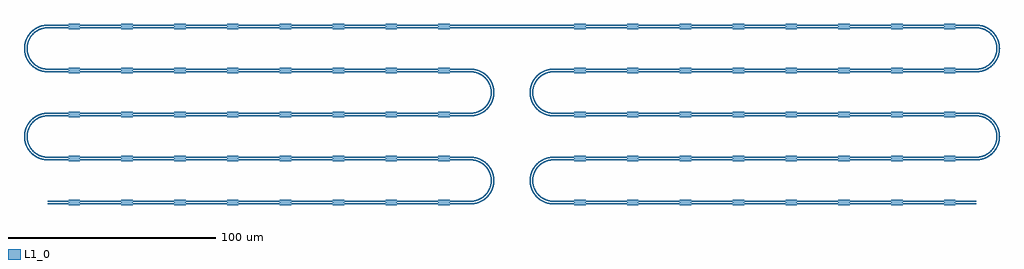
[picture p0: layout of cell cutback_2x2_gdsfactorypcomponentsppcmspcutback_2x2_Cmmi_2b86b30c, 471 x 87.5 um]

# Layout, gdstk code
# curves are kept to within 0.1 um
from math import pi, radians
import gdstk
lib = gdstk.Library(unit=1e-6, precision=1e-09)
def R(c, l, rs):  # rectangles x0, y0, x1, y1
    for r in rs: c.add(gdstk.rectangle(r[:2], r[2:], *l))
def P(c, l, *ps):  # polygons
    for p in ps: c.add(gdstk.Polygon(p, *l))
L1_0 = (1, 0)

mmi2x2_gdsfactorypcompon = lib.new_cell('mmi2x2_gdsfactorypcomponentspmmispmmi2x2_WNone_WT1_LT10_d84946bc')
P(mmi2x2_gdsfactorypcompon, L1_0, [(0,-1.25),(0,-1.125),(-10,-0.875),(-10,-0.375),(0,-0.125),(0,0.125),(-10,0.375),(-10,0.875),(0,1.125),(0,1.25),(5.5,1.25),(5.5,1.125),(15.5,0.875),(15.5,0.375),(5.5,0.125),(5.5,-0.125),(15.5,-0.375),(15.5,-0.875),(5.5,-1.125),(5.5,-1.25)])

bend_circular_gdsfactory = lib.new_cell('bend_circular_gdsfactorypcomponentspbendspbend_circular_89f01867')
P(bend_circular_gdsfactory, L1_0, [(0,-0.25),(0,0.25),(1.232,0.328),(2.204,0.502),(3.154,0.774),(4.294,1.246),(5.771,2.141),(7.067,3.283),(8.141,4.635),(8.642,5.486),(9.054,6.383),(9.374,7.318),(9.597,8.28),(9.75,10),(9.597,11.72),(9.374,12.682),(9.054,13.617),(8.642,14.514),(8.141,15.365),(7.067,16.717),(5.771,17.859),(4.294,18.754),(3.154,19.226),(2.204,19.498),(1.232,19.672),(0,19.75),(0,20.25),(1.037,20.197),(2.063,20.04),(3.802,19.519),(4.746,19.085),(5.641,18.558),(6.477,17.944),(7.248,17.248),(7.944,16.477),(8.558,15.641),(9.085,14.746),(9.519,13.802),(10.04,12.063),(10.197,11.037),(10.25,10),(10.197,8.963),(10.04,7.937),(9.519,6.198),(9.085,5.254),(8.558,4.359),(7.944,3.523),(7.248,2.752),(6.477,2.056),(5.641,1.442),(4.746,0.915),(3.802,0.481),(2.063,-0.04),(1.037,-0.197)])

c_bend_circular_gdsfactory = lib.new_cell('bend_circular_gdsfactorypcomponentspbendspbend_circular_3a3b9a37')
P(c_bend_circular_gdsfactory, L1_0, [(0,-0.25),(0,0.25),(1.24,0.32),(2.465,0.53),(3.658,0.876),(4.805,1.355),(6.304,2.235),(7.822,3.516),(8.644,4.447),(9.223,5.256),(10.151,7.012),(10.564,8.183),(10.798,9.15),(10.999,11.126),(10.966,12.119),(10.798,13.35),(10.244,15.258),(9.356,17.035),(8.796,17.856),(7.995,18.805),(6.506,20.12),(4.805,21.145),(3.658,21.624),(2.465,21.97),(1.24,22.18),(0,22.25),(0,22.75),(2.068,22.563),(3.081,22.33),(4.311,21.912),(5.256,21.479),(6.376,20.821),(7.214,20.206),(8.178,19.336),(9.037,18.362),(9.642,17.517),(10.612,15.681),(11.236,13.7),(11.441,12.418),(11.499,11.38),(11.335,9.31),(11.114,8.295),(10.71,7.06),(10.288,6.11),(9.642,4.983),(9.037,4.138),(8.178,3.164),(7.214,2.294),(6.376,1.679),(5.256,1.021),(4.311,0.588),(3.081,0.17),(2.068,-0.063)])

c__bendu_double_gdsfactory = lib.new_cell('_bendu_double_gdsfactorypcomponentsppcmspcutback_2x2_Cm_4e07e9f2')
c__bendu_double_gdsfactory.add(gdstk.Reference(bend_circular_gdsfactory, (0,0)))
c__bendu_double_gdsfactory.add(gdstk.Reference(c_bend_circular_gdsfactory, (0,-1.25)))

straight_gdsfactorypcomp = lib.new_cell('straight_gdsfactorypcomponentspwaveguidespstraight_L20__31a8c163')
R(straight_gdsfactorypcomp, L1_0, [(0,-0.25,20,0.25)])

c__straight_double_gdsfact = lib.new_cell('_straight_double_gdsfactorypcomponentsppcmspcutback_2x2_f639dc6b')
c__straight_double_gdsfact.add(gdstk.Reference(straight_gdsfactorypcomp, (0,0)))
c__straight_double_gdsfact.add(gdstk.Reference(straight_gdsfactorypcomp, (0,1.25)))

cutback_2x2_gdsfactorypc = lib.new_cell('cutback_2x2_gdsfactorypcomponentsppcmspcutback_2x2_Cmmi_2b86b30c')
cutback_2x2_gdsfactorypc.add(gdstk.Reference(mmi2x2_gdsfactorypcompon, (0,0)))
cutback_2x2_gdsfactorypc.add(gdstk.Reference(mmi2x2_gdsfactorypcompon, (31,0), rotation=pi))
cutback_2x2_gdsfactorypc.add(gdstk.Reference(mmi2x2_gdsfactorypcompon, (51,0)))
cutback_2x2_gdsfactorypc.add(gdstk.Reference(mmi2x2_gdsfactorypcompon, (82,0), rotation=pi))
cutback_2x2_gdsfactorypc.add(gdstk.Reference(mmi2x2_gdsfactorypcompon, (102,0)))
cutback_2x2_gdsfactorypc.add(gdstk.Reference(mmi2x2_gdsfactorypcompon, (133,0), rotation=pi))
cutback_2x2_gdsfactorypc.add(gdstk.Reference(mmi2x2_gdsfactorypcompon, (153,0)))
cutback_2x2_gdsfactorypc.add(gdstk.Reference(mmi2x2_gdsfactorypcompon, (184,0), rotation=pi))
cutback_2x2_gdsfactorypc.add(gdstk.Reference(c__bendu_double_gdsfactory, (194,0.625)))
cutback_2x2_gdsfactorypc.add(gdstk.Reference(mmi2x2_gdsfactorypcompon, (184,21.25), rotation=pi))
cutback_2x2_gdsfactorypc.add(gdstk.Reference(mmi2x2_gdsfactorypcompon, (153,21.25)))
cutback_2x2_gdsfactorypc.add(gdstk.Reference(mmi2x2_gdsfactorypcompon, (133,21.25), rotation=pi))
cutback_2x2_gdsfactorypc.add(gdstk.Reference(mmi2x2_gdsfactorypcompon, (102,21.25)))
cutback_2x2_gdsfactorypc.add(gdstk.Reference(mmi2x2_gdsfactorypcompon, (82,21.25), rotation=pi))
cutback_2x2_gdsfactorypc.add(gdstk.Reference(mmi2x2_gdsfactorypcompon, (51,21.25)))
cutback_2x2_gdsfactorypc.add(gdstk.Reference(mmi2x2_gdsfactorypcompon, (31,21.25), rotation=pi))
cutback_2x2_gdsfactorypc.add(gdstk.Reference(mmi2x2_gdsfactorypcompon, (0,21.25)))
cutback_2x2_gdsfactorypc.add(gdstk.Reference(c__bendu_double_gdsfactory, (-10,41.875), rotation=pi))
cutback_2x2_gdsfactorypc.add(gdstk.Reference(mmi2x2_gdsfactorypcompon, (0,42.5)))
cutback_2x2_gdsfactorypc.add(gdstk.Reference(mmi2x2_gdsfactorypcompon, (31,42.5), rotation=pi))
cutback_2x2_gdsfactorypc.add(gdstk.Reference(mmi2x2_gdsfactorypcompon, (51,42.5)))
cutback_2x2_gdsfactorypc.add(gdstk.Reference(mmi2x2_gdsfactorypcompon, (82,42.5), rotation=pi))
cutback_2x2_gdsfactorypc.add(gdstk.Reference(mmi2x2_gdsfactorypcompon, (102,42.5)))
cutback_2x2_gdsfactorypc.add(gdstk.Reference(mmi2x2_gdsfactorypcompon, (133,42.5), rotation=pi))
cutback_2x2_gdsfactorypc.add(gdstk.Reference(mmi2x2_gdsfactorypcompon, (153,42.5)))
cutback_2x2_gdsfactorypc.add(gdstk.Reference(mmi2x2_gdsfactorypcompon, (184,42.5), rotation=pi))
cutback_2x2_gdsfactorypc.add(gdstk.Reference(c__bendu_double_gdsfactory, (194,43.125)))
cutback_2x2_gdsfactorypc.add(gdstk.Reference(mmi2x2_gdsfactorypcompon, (184,63.75), rotation=pi))
cutback_2x2_gdsfactorypc.add(gdstk.Reference(mmi2x2_gdsfactorypcompon, (153,63.75)))
cutback_2x2_gdsfactorypc.add(gdstk.Reference(mmi2x2_gdsfactorypcompon, (133,63.75), rotation=pi))
cutback_2x2_gdsfactorypc.add(gdstk.Reference(mmi2x2_gdsfactorypcompon, (102,63.75)))
cutback_2x2_gdsfactorypc.add(gdstk.Reference(mmi2x2_gdsfactorypcompon, (82,63.75), rotation=pi))
cutback_2x2_gdsfactorypc.add(gdstk.Reference(mmi2x2_gdsfactorypcompon, (51,63.75)))
cutback_2x2_gdsfactorypc.add(gdstk.Reference(mmi2x2_gdsfactorypcompon, (31,63.75), rotation=pi))
cutback_2x2_gdsfactorypc.add(gdstk.Reference(mmi2x2_gdsfactorypcompon, (0,63.75)))
cutback_2x2_gdsfactorypc.add(gdstk.Reference(c__bendu_double_gdsfactory, (-10,84.375), rotation=pi))
cutback_2x2_gdsfactorypc.add(gdstk.Reference(mmi2x2_gdsfactorypcompon, (0,85)))
cutback_2x2_gdsfactorypc.add(gdstk.Reference(mmi2x2_gdsfactorypcompon, (31,85), rotation=pi))
cutback_2x2_gdsfactorypc.add(gdstk.Reference(mmi2x2_gdsfactorypcompon, (51,85)))
cutback_2x2_gdsfactorypc.add(gdstk.Reference(mmi2x2_gdsfactorypcompon, (82,85), rotation=pi))
cutback_2x2_gdsfactorypc.add(gdstk.Reference(mmi2x2_gdsfactorypcompon, (102,85)))
cutback_2x2_gdsfactorypc.add(gdstk.Reference(mmi2x2_gdsfactorypcompon, (133,85), rotation=pi))
cutback_2x2_gdsfactorypc.add(gdstk.Reference(mmi2x2_gdsfactorypcompon, (153,85)))
cutback_2x2_gdsfactorypc.add(gdstk.Reference(mmi2x2_gdsfactorypcompon, (184,85), rotation=pi))
cutback_2x2_gdsfactorypc.add(gdstk.Reference(c__straight_double_gdsfact, (194,84.375)))
cutback_2x2_gdsfactorypc.add(gdstk.Reference(c__straight_double_gdsfact, (214,84.375)))
cutback_2x2_gdsfactorypc.add(gdstk.Reference(mmi2x2_gdsfactorypcompon, (244,85)))
cutback_2x2_gdsfactorypc.add(gdstk.Reference(mmi2x2_gdsfactorypcompon, (275,85), rotation=pi))
cutback_2x2_gdsfactorypc.add(gdstk.Reference(mmi2x2_gdsfactorypcompon, (295,85)))
cutback_2x2_gdsfactorypc.add(gdstk.Reference(mmi2x2_gdsfactorypcompon, (326,85), rotation=pi))
cutback_2x2_gdsfactorypc.add(gdstk.Reference(mmi2x2_gdsfactorypcompon, (346,85)))
cutback_2x2_gdsfactorypc.add(gdstk.Reference(mmi2x2_gdsfactorypcompon, (377,85), rotation=pi))
cutback_2x2_gdsfactorypc.add(gdstk.Reference(mmi2x2_gdsfactorypcompon, (397,85)))
cutback_2x2_gdsfactorypc.add(gdstk.Reference(mmi2x2_gdsfactorypcompon, (428,85), rotation=pi))
cutback_2x2_gdsfactorypc.add(gdstk.Reference(c__bendu_double_gdsfactory, (438,64.375)))
cutback_2x2_gdsfactorypc.add(gdstk.Reference(mmi2x2_gdsfactorypcompon, (428,63.75), rotation=pi))
cutback_2x2_gdsfactorypc.add(gdstk.Reference(mmi2x2_gdsfactorypcompon, (397,63.75)))
cutback_2x2_gdsfactorypc.add(gdstk.Reference(mmi2x2_gdsfactorypcompon, (377,63.75), rotation=pi))
cutback_2x2_gdsfactorypc.add(gdstk.Reference(mmi2x2_gdsfactorypcompon, (346,63.75)))
cutback_2x2_gdsfactorypc.add(gdstk.Reference(mmi2x2_gdsfactorypcompon, (326,63.75), rotation=pi))
cutback_2x2_gdsfactorypc.add(gdstk.Reference(mmi2x2_gdsfactorypcompon, (295,63.75)))
cutback_2x2_gdsfactorypc.add(gdstk.Reference(mmi2x2_gdsfactorypcompon, (275,63.75), rotation=pi))
cutback_2x2_gdsfactorypc.add(gdstk.Reference(mmi2x2_gdsfactorypcompon, (244,63.75)))
cutback_2x2_gdsfactorypc.add(gdstk.Reference(c__bendu_double_gdsfactory, (234,63.125), rotation=pi))
cutback_2x2_gdsfactorypc.add(gdstk.Reference(mmi2x2_gdsfactorypcompon, (244,42.5)))
cutback_2x2_gdsfactorypc.add(gdstk.Reference(mmi2x2_gdsfactorypcompon, (275,42.5), rotation=pi))
cutback_2x2_gdsfactorypc.add(gdstk.Reference(mmi2x2_gdsfactorypcompon, (295,42.5)))
cutback_2x2_gdsfactorypc.add(gdstk.Reference(mmi2x2_gdsfactorypcompon, (326,42.5), rotation=pi))
cutback_2x2_gdsfactorypc.add(gdstk.Reference(mmi2x2_gdsfactorypcompon, (346,42.5)))
cutback_2x2_gdsfactorypc.add(gdstk.Reference(mmi2x2_gdsfactorypcompon, (377,42.5), rotation=pi))
cutback_2x2_gdsfactorypc.add(gdstk.Reference(mmi2x2_gdsfactorypcompon, (397,42.5)))
cutback_2x2_gdsfactorypc.add(gdstk.Reference(mmi2x2_gdsfactorypcompon, (428,42.5), rotation=pi))
cutback_2x2_gdsfactorypc.add(gdstk.Reference(c__bendu_double_gdsfactory, (438,21.875)))
cutback_2x2_gdsfactorypc.add(gdstk.Reference(mmi2x2_gdsfactorypcompon, (428,21.25), rotation=pi))
cutback_2x2_gdsfactorypc.add(gdstk.Reference(mmi2x2_gdsfactorypcompon, (397,21.25)))
cutback_2x2_gdsfactorypc.add(gdstk.Reference(mmi2x2_gdsfactorypcompon, (377,21.25), rotation=pi))
cutback_2x2_gdsfactorypc.add(gdstk.Reference(mmi2x2_gdsfactorypcompon, (346,21.25)))
cutback_2x2_gdsfactorypc.add(gdstk.Reference(mmi2x2_gdsfactorypcompon, (326,21.25), rotation=pi))
cutback_2x2_gdsfactorypc.add(gdstk.Reference(mmi2x2_gdsfactorypcompon, (295,21.25)))
cutback_2x2_gdsfactorypc.add(gdstk.Reference(mmi2x2_gdsfactorypcompon, (275,21.25), rotation=pi))
cutback_2x2_gdsfactorypc.add(gdstk.Reference(mmi2x2_gdsfactorypcompon, (244,21.25)))
cutback_2x2_gdsfactorypc.add(gdstk.Reference(c__bendu_double_gdsfactory, (234,20.625), rotation=pi))
cutback_2x2_gdsfactorypc.add(gdstk.Reference(mmi2x2_gdsfactorypcompon, (244,0)))
cutback_2x2_gdsfactorypc.add(gdstk.Reference(mmi2x2_gdsfactorypcompon, (275,0), rotation=pi))
cutback_2x2_gdsfactorypc.add(gdstk.Reference(mmi2x2_gdsfactorypcompon, (295,0)))
cutback_2x2_gdsfactorypc.add(gdstk.Reference(mmi2x2_gdsfactorypcompon, (326,0), rotation=pi))
cutback_2x2_gdsfactorypc.add(gdstk.Reference(mmi2x2_gdsfactorypcompon, (346,0)))
cutback_2x2_gdsfactorypc.add(gdstk.Reference(mmi2x2_gdsfactorypcompon, (377,0), rotation=pi))
cutback_2x2_gdsfactorypc.add(gdstk.Reference(mmi2x2_gdsfactorypcompon, (397,0)))
cutback_2x2_gdsfactorypc.add(gdstk.Reference(mmi2x2_gdsfactorypcompon, (428,0), rotation=pi))

lib.write_gds('cutback_2x2_gdsfactorypcomponentsppcmspcutback_2x2_Cmmi_2b86b30c.gds')
